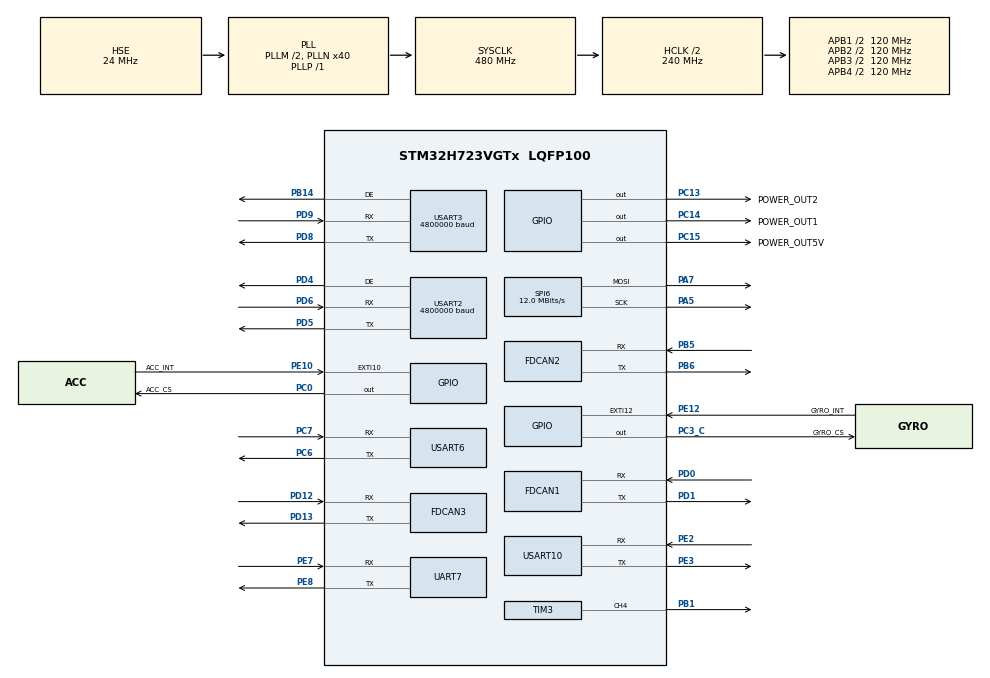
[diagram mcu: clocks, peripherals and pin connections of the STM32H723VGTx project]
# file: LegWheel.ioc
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CRC.DefaultPolynomialUse=DEFAULT_POLYNOMIAL_DISABLE
Dma.Request0=USART2_RX
Dma.Request1=USART2_TX
Dma.Request2=USART3_RX
Dma.Request3=USART3_TX
Dma.Request4=UART7_RX
Dma.Request5=UART7_TX
Dma.Request6=USART10_TX
Dma.Request7=USART10_RX
Dma.UART7_RX.4.Direction=DMA_PERIPH_TO_MEMORY
Dma.UART7_RX.4.EventEnable=DISABLE
Dma.UART7_RX.4.FIFOMode=DMA_FIFOMODE_DISABLE
Dma.UART7_RX.4.Instance=DMA2_Stream2
Dma.UART7_RX.4.MemDataAlignment=DMA_MDATAALIGN_BYTE
Dma.UART7_RX.4.MemInc=DMA_MINC_ENABLE
Dma.UART7_RX.4.Mode=DMA_NORMAL
Dma.UART7_RX.4.PeriphDataAlignment=DMA_PDATAALIGN_BYTE
Dma.UART7_RX.4.PeriphInc=DMA_PINC_DISABLE
Dma.UART7_RX.4.Polarity=HAL_DMAMUX_REQ_GEN_RISING
Dma.UART7_RX.4.Priority=DMA_PRIORITY_VERY_HIGH
Dma.UART7_RX.4.RequestNumber=1
Dma.UART7_RX.4.SignalID=NONE
Dma.UART7_RX.4.SyncEnable=DISABLE
Dma.UART7_RX.4.SyncPolarity=HAL_DMAMUX_SYNC_NO_EVENT
Dma.UART7_RX.4.SyncRequestNumber=1
Dma.UART7_RX.4.SyncSignalID=NONE
Dma.UART7_TX.5.Direction=DMA_MEMORY_TO_PERIPH
Dma.UART7_TX.5.EventEnable=DISABLE
Dma.UART7_TX.5.FIFOMode=DMA_FIFOMODE_DISABLE
Dma.UART7_TX.5.Instance=DMA2_Stream1
Dma.UART7_TX.5.MemDataAlignment=DMA_MDATAALIGN_BYTE
Dma.UART7_TX.5.MemInc=DMA_MINC_ENABLE
Dma.UART7_TX.5.Mode=DMA_NORMAL
Dma.UART7_TX.5.PeriphDataAlignment=DMA_PDATAALIGN_BYTE
Dma.UART7_TX.5.PeriphInc=DMA_PINC_DISABLE
Dma.UART7_TX.5.Polarity=HAL_DMAMUX_REQ_GEN_RISING
Dma.UART7_TX.5.Priority=DMA_PRIORITY_VERY_HIGH
Dma.UART7_TX.5.RequestNumber=1
Dma.UART7_TX.5.SignalID=NONE
Dma.UART7_TX.5.SyncEnable=DISABLE
Dma.UART7_TX.5.SyncPolarity=HAL_DMAMUX_SYNC_NO_EVENT
Dma.UART7_TX.5.SyncRequestNumber=1
Dma.UART7_TX.5.SyncSignalID=NONE
Dma.USART10_RX.7.Direction=DMA_PERIPH_TO_MEMORY
Dma.USART10_RX.7.EventEnable=DISABLE
Dma.USART10_RX.7.FIFOMode=DMA_FIFOMODE_DISABLE
Dma.USART10_RX.7.Instance=DMA2_Stream3
Dma.USART10_RX.7.MemDataAlignment=DMA_MDATAALIGN_BYTE
Dma.USART10_RX.7.MemInc=DMA_MINC_ENABLE
Dma.USART10_RX.7.Mode=DMA_NORMAL
Dma.USART10_RX.7.PeriphDataAlignment=DMA_PDATAALIGN_BYTE
Dma.USART10_RX.7.PeriphInc=DMA_PINC_DISABLE
Dma.USART10_RX.7.Polarity=HAL_DMAMUX_REQ_GEN_RISING
Dma.USART10_RX.7.Priority=DMA_PRIORITY_VERY_HIGH
Dma.USART10_RX.7.RequestNumber=1
Dma.USART10_RX.7.SignalID=NONE
Dma.USART10_RX.7.SyncEnable=DISABLE
Dma.USART10_RX.7.SyncPolarity=HAL_DMAMUX_SYNC_NO_EVENT
Dma.USART10_RX.7.SyncRequestNumber=1
Dma.USART10_RX.7.SyncSignalID=NONE
Dma.USART10_TX.6.Direction=DMA_MEMORY_TO_PERIPH
Dma.USART10_TX.6.EventEnable=DISABLE
Dma.USART10_TX.6.FIFOMode=DMA_FIFOMODE_DISABLE
Dma.USART10_TX.6.Instance=DMA2_Stream4
Dma.USART10_TX.6.MemDataAlignment=DMA_MDATAALIGN_BYTE
Dma.USART10_TX.6.MemInc=DMA_MINC_ENABLE
Dma.USART10_TX.6.Mode=DMA_NORMAL
Dma.USART10_TX.6.PeriphDataAlignment=DMA_PDATAALIGN_BYTE
Dma.USART10_TX.6.PeriphInc=DMA_PINC_DISABLE
Dma.USART10_TX.6.Polarity=HAL_DMAMUX_REQ_GEN_RISING
Dma.USART10_TX.6.Priority=DMA_PRIORITY_VERY_HIGH
Dma.USART10_TX.6.RequestNumber=1
Dma.USART10_TX.6.SignalID=NONE
Dma.USART10_TX.6.SyncEnable=DISABLE
Dma.USART10_TX.6.SyncPolarity=HAL_DMAMUX_SYNC_NO_EVENT
Dma.USART10_TX.6.SyncRequestNumber=1
Dma.USART10_TX.6.SyncSignalID=NONE
Dma.USART2_RX.0.Direction=DMA_PERIPH_TO_MEMORY
Dma.USART2_RX.0.EventEnable=DISABLE
Dma.USART2_RX.0.FIFOMode=DMA_FIFOMODE_DISABLE
Dma.USART2_RX.0.Instance=DMA1_Stream1
Dma.USART2_RX.0.MemDataAlignment=DMA_MDATAALIGN_BYTE
Dma.USART2_RX.0.MemInc=DMA_MINC_ENABLE
Dma.USART2_RX.0.Mode=DMA_NORMAL
Dma.USART2_RX.0.PeriphDataAlignment=DMA_PDATAALIGN_BYTE
Dma.USART2_RX.0.PeriphInc=DMA_PINC_DISABLE
Dma.USART2_RX.0.Polarity=HAL_DMAMUX_REQ_GEN_RISING
Dma.USART2_RX.0.Priority=DMA_PRIORITY_HIGH
Dma.USART2_RX.0.RequestNumber=1
Dma.USART2_RX.0.SignalID=NONE
Dma.USART2_RX.0.SyncEnable=DISABLE
Dma.USART2_RX.0.SyncPolarity=HAL_DMAMUX_SYNC_NO_EVENT
Dma.USART2_RX.0.SyncRequestNumber=1
Dma.USART2_RX.0.SyncSignalID=NONE
Dma.USART2_TX.1.Direction=DMA_MEMORY_TO_PERIPH
Dma.USART2_TX.1.EventEnable=DISABLE
Dma.USART2_TX.1.FIFOMode=DMA_FIFOMODE_DISABLE
Dma.USART2_TX.1.Instance=DMA1_Stream2
Dma.USART2_TX.1.MemDataAlignment=DMA_MDATAALIGN_BYTE
Dma.USART2_TX.1.MemInc=DMA_MINC_ENABLE
Dma.USART2_TX.1.Mode=DMA_NORMAL
Dma.USART2_TX.1.PeriphDataAlignment=DMA_PDATAALIGN_BYTE
Dma.USART2_TX.1.PeriphInc=DMA_PINC_DISABLE
Dma.USART2_TX.1.Polarity=HAL_DMAMUX_REQ_GEN_RISING
Dma.USART2_TX.1.Priority=DMA_PRIORITY_HIGH
Dma.USART2_TX.1.RequestNumber=1
Dma.USART2_TX.1.SignalID=NONE
Dma.USART2_TX.1.SyncEnable=DISABLE
Dma.USART2_TX.1.SyncPolarity=HAL_DMAMUX_SYNC_NO_EVENT
Dma.USART2_TX.1.SyncRequestNumber=1
Dma.USART2_TX.1.SyncSignalID=NONE
Dma.USART3_RX.2.Direction=DMA_PERIPH_TO_MEMORY
Dma.USART3_RX.2.EventEnable=DISABLE
Dma.USART3_RX.2.FIFOMode=DMA_FIFOMODE_DISABLE
Dma.USART3_RX.2.Instance=DMA1_Stream3
Dma.USART3_RX.2.MemDataAlignment=DMA_MDATAALIGN_BYTE
Dma.USART3_RX.2.MemInc=DMA_MINC_ENABLE
Dma.USART3_RX.2.Mode=DMA_NORMAL
Dma.USART3_RX.2.PeriphDataAlignment=DMA_PDATAALIGN_BYTE
Dma.USART3_RX.2.PeriphInc=DMA_PINC_DISABLE
Dma.USART3_RX.2.Polarity=HAL_DMAMUX_REQ_GEN_RISING
Dma.USART3_RX.2.Priority=DMA_PRIORITY_HIGH
Dma.USART3_RX.2.RequestNumber=1
Dma.USART3_RX.2.SignalID=NONE
Dma.USART3_RX.2.SyncEnable=DISABLE
Dma.USART3_RX.2.SyncPolarity=HAL_DMAMUX_SYNC_NO_EVENT
Dma.USART3_RX.2.SyncRequestNumber=1
Dma.USART3_RX.2.SyncSignalID=NONE
Dma.USART3_TX.3.Direction=DMA_MEMORY_TO_PERIPH
Dma.USART3_TX.3.EventEnable=DISABLE
Dma.USART3_TX.3.FIFOMode=DMA_FIFOMODE_DISABLE
Dma.USART3_TX.3.Instance=DMA1_Stream4
Dma.USART3_TX.3.MemDataAlignment=DMA_MDATAALIGN_BYTE
Dma.USART3_TX.3.MemInc=DMA_MINC_ENABLE
Dma.USART3_TX.3.Mode=DMA_NORMAL
Dma.USART3_TX.3.PeriphDataAlignment=DMA_PDATAALIGN_BYTE
Dma.USART3_TX.3.PeriphInc=DMA_PINC_DISABLE
Dma.USART3_TX.3.Polarity=HAL_DMAMUX_REQ_GEN_RISING
Dma.USART3_TX.3.Priority=DMA_PRIORITY_HIGH
Dma.USART3_TX.3.RequestNumber=1
Dma.USART3_TX.3.SignalID=NONE
Dma.USART3_TX.3.SyncEnable=DISABLE
Dma.USART3_TX.3.SyncPolarity=HAL_DMAMUX_SYNC_NO_EVENT
Dma.USART3_TX.3.SyncRequestNumber=1
Dma.USART3_TX.3.SyncSignalID=NONE
FDCAN1.AutoRetransmission=ENABLE
FDCAN1.CalculateBaudRateNominal=1000000
FDCAN1.CalculateTimeBitNominal=1000
FDCAN1.CalculateTimeQuantumNominal=25.0
FDCAN1.DataPrescaler=3
FDCAN1.DataSyncJumpWidth=10
FDCAN1.DataTimeSeg1=29
FDCAN1.DataTimeSeg2=10
FDCAN1.NominalPrescaler=3
FDCAN1.NominalSyncJumpWidth=10
FDCAN1.NominalTimeSeg1=29
FDCAN1.NominalTimeSeg2=10
FDCAN1.ProtocolException=ENABLE
FDCAN1.RxFifo0ElmtsNbr=4
FDCAN1.StdFiltersNbr=1
FDCAN1.TxFifoQueueElmtsNbr=4
FDCAN2.AutoRetransmission=ENABLE
FDCAN2.CalculateBaudRateNominal=1000000
FDCAN2.CalculateTimeBitNominal=1000
FDCAN2.CalculateTimeQuantumNominal=25.0
FDCAN2.DataPrescaler=3
FDCAN2.DataSyncJumpWidth=10
FDCAN2.DataTimeSeg1=29
FDCAN2.DataTimeSeg2=10
FDCAN2.MessageRAMOffset=1280
FDCAN2.NominalPrescaler=3
FDCAN2.NominalSyncJumpWidth=10
FDCAN2.NominalTimeSeg1=29
FDCAN2.NominalTimeSeg2=10
FDCAN2.ProtocolException=ENABLE
FDCAN2.RxFifo0ElmtsNbr=4
FDCAN2.StdFiltersNbr=1
FDCAN2.TxFifoQueueElmtsNbr=4
FDCAN3.AutoRetransmission=ENABLE
FDCAN3.CalculateBaudRateNominal=1000000
FDCAN3.CalculateTimeBitNominal=1000
FDCAN3.CalculateTimeQuantumNominal=25.0
FDCAN3.DataPrescaler=3
FDCAN3.DataSyncJumpWidth=10
FDCAN3.DataTimeSeg1=29
FDCAN3.DataTimeSeg2=10
FDCAN3.MessageRAMOffset=1280
FDCAN3.NominalPrescaler=3
FDCAN3.NominalSyncJumpWidth=10
FDCAN3.NominalTimeSeg1=29
FDCAN3.NominalTimeSeg2=10
FDCAN3.ProtocolException=ENABLE
FDCAN3.RxFifo0ElmtsNbr=4
FDCAN3.StdFiltersNbr=1
FDCAN3.TxFifoQueueElmtsNbr=4
FREERTOS.Tasks01=defaultTask,8,128,StartDefaultTask,Default,NULL,Dynamic,NULL,NULL;ChassisTask,24,128,StartChassisTask,Default,NULL,Dynamic,NULL,NULL;LegMotorTask,48,128,StartLegMotorTask,Default,NULL,Dynamic,NULL,NULL;IMUTask,48,128,StartIMUTask,Default,NULL,Dynamic,NULL,NULL;BoardcommTask,48,128,StartBoardcommTask,Default,NULL,Dynamic,NULL,NULL
Mcu.Family=STM32H7
Mcu.Name=STM32H723VGTx
Mcu.Package=LQFP100
NVIC.DMA1_Stream1_IRQn=true\:5\:0\:true\:false\:true\:false\:false\:true\:true
NVIC.DMA1_Stream2_IRQn=true\:5\:0\:false\:false\:true\:true\:false\:true\:true
NVIC.DMA1_Stream3_IRQn=true\:5\:0\:false\:false\:true\:true\:false\:true\:true
NVIC.DMA1_Stream4_IRQn=true\:5\:0\:false\:false\:true\:true\:false\:true\:true
NVIC.DMA2_Stream1_IRQn=true\:5\:0\:false\:false\:true\:true\:false\:true\:true
NVIC.DMA2_Stream2_IRQn=true\:5\:0\:false\:false\:true\:false\:false\:true\:true
NVIC.DMA2_Stream3_IRQn=true\:0\:0\:false\:false\:true\:false\:false\:true\:true
NVIC.DMA2_Stream4_IRQn=true\:0\:0\:false\:false\:true\:false\:false\:true\:true
NVIC.FDCAN1_IT0_IRQn=true\:5\:0\:false\:false\:true\:true\:true\:true\:true
NVIC.FDCAN2_IT0_IRQn=true\:5\:0\:false\:false\:true\:true\:true\:true\:true
NVIC.FDCAN3_IT0_IRQn=true\:5\:0\:false\:false\:true\:true\:true\:true\:true
NVIC.PriorityGroup=NVIC_PRIORITYGROUP_4
NVIC.TIM2_IRQn=true\:15\:0\:false\:false\:true\:false\:false\:true\:true
NVIC.TimeBase=TIM2_IRQn
NVIC.TimeBaseIP=TIM2
NVIC.UART7_IRQn=true\:5\:0\:false\:false\:true\:true\:true\:true\:true
NVIC.USART2_IRQn=true\:5\:0\:false\:false\:true\:true\:true\:true\:true
NVIC.USART3_IRQn=true\:5\:0\:false\:false\:true\:true\:true\:true\:true
PA13(JTMS/SWDIO).Mode=Serial_Wire
PA13(JTMS/SWDIO).Signal=DEBUG_JTMS-SWDIO
PA14(JTCK/SWCLK).Mode=Serial_Wire
PA14(JTCK/SWCLK).Signal=DEBUG_JTCK-SWCLK
PA5.GPIO_Speed=GPIO_SPEED_FREQ_VERY_HIGH
PA5.Mode=TX_Only_Simplex_Unidirect_Master
PA5.Signal=SPI6_SCK
PA7.GPIO_Speed=GPIO_SPEED_FREQ_VERY_HIGH
PA7.Mode=TX_Only_Simplex_Unidirect_Master
PA7.Signal=SPI6_MOSI
PB1.Signal=S_TIM3_CH4
PB13.Signal=SPI2_SCK
PB14.GPIO_PuPd=GPIO_PULLDOWN
PB14.GPIO_Speed=GPIO_SPEED_FREQ_VERY_HIGH
PB14.Mode=Hardware Flow Control (RS485)
PB14.Signal=USART3_DE
PB5.GPIO_Speed=GPIO_SPEED_FREQ_LOW
PB5.Mode=FDCAN_Activate
PB5.Signal=FDCAN2_RX
PB6.GPIO_FM6=SYSCFG_PMCR_I2C_PB6_FMP
PB6.GPIO_Speed=GPIO_SPEED_FREQ_LOW
PB6.Mode=FDCAN_Activate
PB6.Signal=FDCAN2_TX
PC0.GPIO_Label=ACC_CS
PC0.GPIO_PuPd=GPIO_NOPULL
PC0.GPIO_Speed=GPIO_SPEED_FREQ_VERY_HIGH
PC0.PinState=GPIO_PIN_SET
PC0.Signal=GPIO_Output
PC13.GPIO_Label=POWER_OUT2
PC13.PinState=GPIO_PIN_SET
PC13.Signal=GPIO_Output
PC14-OSC32_IN.GPIO_Label=POWER_OUT1
PC14-OSC32_IN.PinState=GPIO_PIN_SET
PC14-OSC32_IN.Signal=GPIO_Output
PC15-OSC32_OUT.GPIO_Label=POWER_OUT5V
PC15-OSC32_OUT.PinState=GPIO_PIN_SET
PC15-OSC32_OUT.Signal=GPIO_Output
PC3_C.GPIO_Label=GYRO_CS
PC3_C.GPIO_PuPd=GPIO_NOPULL
PC3_C.GPIO_Speed=GPIO_SPEED_FREQ_VERY_HIGH
PC3_C.PinState=GPIO_PIN_SET
PC3_C.Signal=GPIO_Output
PC6.Mode=Asynchronous
PC6.Signal=USART6_TX
PC7.Mode=Asynchronous
PC7.Signal=USART6_RX
PD0.GPIO_Speed=GPIO_SPEED_FREQ_LOW
PD0.Mode=FDCAN_Activate
PD0.Signal=FDCAN1_RX
PD1.GPIO_Speed=GPIO_SPEED_FREQ_LOW
PD1.Mode=FDCAN_Activate
PD1.Signal=FDCAN1_TX
PD12.Mode=FDCAN_Activate
PD12.Signal=FDCAN3_RX
PD13.Mode=FDCAN_Activate
PD13.Signal=FDCAN3_TX
PD4.GPIO_PuPd=GPIO_PULLDOWN
PD4.GPIO_Speed=GPIO_SPEED_FREQ_VERY_HIGH
PD4.Mode=Hardware Flow Control (RS485)
PD4.Signal=USART2_DE
PD5.GPIO_Speed=GPIO_SPEED_FREQ_VERY_HIGH
PD5.Mode=Asynchronous
PD5.Signal=USART2_TX
PD6.GPIO_Speed=GPIO_SPEED_FREQ_VERY_HIGH
PD6.Mode=Asynchronous
PD6.Signal=USART2_RX
PD8.GPIO_Speed=GPIO_SPEED_FREQ_VERY_HIGH
PD8.Mode=Asynchronous
PD8.Signal=USART3_TX
PD9.GPIO_Speed=GPIO_SPEED_FREQ_VERY_HIGH
PD9.Mode=Asynchronous
PD9.Signal=USART3_RX
PE10.GPIO_Label=ACC_INT
PE10.Signal=GPXTI10
PE12.GPIO_Label=GYRO_INT
PE12.Signal=GPXTI12
PE2.Mode=Asynchronous
PE2.Signal=USART10_RX
PE3.Mode=Asynchronous
PE3.Signal=USART10_TX
PE7.GPIO_Speed=GPIO_SPEED_FREQ_VERY_HIGH
PE7.Mode=Asynchronous
PE7.Signal=UART7_RX
PE8.GPIO_Speed=GPIO_SPEED_FREQ_VERY_HIGH
PE8.Mode=Asynchronous
PE8.Signal=UART7_TX
PH0-OSC_IN.Mode=HSE-External-Oscillator
PH0-OSC_IN.Signal=RCC_OSC_IN
PH1-OSC_OUT.Mode=HSE-External-Oscillator
PH1-OSC_OUT.Signal=RCC_OSC_OUT
ProjectManager.HeapSize=0x20000
ProjectManager.StackSize=0x800
ProjectManager.TargetToolchain=MDK-ARM V5.27
RCC.ADCFreq_Value=48375000
RCC.APB1Freq_Value=120000000
RCC.APB2Freq_Value=120000000
RCC.APB3Freq_Value=120000000
RCC.APB4Freq_Value=120000000
RCC.CortexFreq_Value=480000000
RCC.D1PPRE=RCC_APB3_DIV2
RCC.D2PPRE1=RCC_APB1_DIV2
RCC.D2PPRE2=RCC_APB2_DIV2
RCC.D3PPRE=RCC_APB4_DIV2
RCC.DIVM1=2
RCC.DIVN1=40
RCC.DIVP1=1
RCC.DIVQ1=4
RCC.HCLKFreq_Value=240000000
RCC.HPRE=RCC_HCLK_DIV2
RCC.HSE_VALUE=24000000
RCC.PLL2FRACN=0
RCC.PLL3FRACN=0
RCC.PLLFRACN=0
RCC.PLLSourceVirtual=RCC_PLLSOURCE_HSE
RCC.SPI6CLockSelection=RCC_SPI6CLKSOURCE_HSE
RCC.SYSCLKFreq_VALUE=480000000
RCC.SYSCLKSource=RCC_SYSCLKSOURCE_PLLCLK
RCC.USBFreq_Value=120000000
SH.S_TIM3_CH4.0=TIM3_CH4,PWM Generation4 CH4
SPI6.CalculateBaudRate=12.0 MBits/s
SPI6.Direction=SPI_DIRECTION_2LINES_TXONLY
SPI6.Mode=SPI_MODE_MASTER
SPI6.VirtualType=VM_MASTER
TIM3.Channel-PWM\ Generation4\ CH4=TIM_CHANNEL_4
TIM3.Period=2000-1
TIM3.Prescaler=84-1
USART10.VirtualMode=VM_ASYNC
USART2.BaudRate=4800000
USART2.DMADisableonRxErrorParam=ADVFEATURE_DMA_ENABLEONRXERROR
USART2.OverrunDisableParam=ADVFEATURE_OVERRUN_ENABLE
USART2.RXFIFOThreshold=RXFIFO_THRESHOLD_1EIGHTHFULL
USART2.TXFIFOThreshold=TXFIFO_THRESHOLD_1EIGHTHFULL
USART2.VirtualMode-Asynchronous=VM_ASYNC
USART2.VirtualMode-Hardware\ Flow\ Control\ (RS485)=VM_ASYNC
USART3.BaudRate=4800000
USART3.VirtualMode-Asynchronous=VM_ASYNC
USART3.VirtualMode-Hardware\ Flow\ Control\ (RS485)=VM_ASYNC
USART6.VirtualMode=VM_ASYNC
VP_CRC_VS_CRC.Mode=CRC_Activate
VP_FREERTOS_VS_CMSIS_V2.Mode=CMSIS_V2
VP_MEMORYMAP_VS_MEMORYMAP.Mode=CurAppReg
VP_SYS_VS_tim2.Mode=TIM2
board=custom

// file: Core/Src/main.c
/* USER CODE BEGIN Header */
/**
  ******************************************************************************
  * @file           : main.c
  * @brief          : Main program body
  ******************************************************************************
  * @attention
  *
  * Copyright (c) 2024 STMicroelectronics.
  * All rights reserved.
  *
  * This software is licensed under terms that can be found in the LICENSE file
  * in the root directory of this software component.
  * If no LICENSE file comes with this software, it is provided AS-IS.
  *
  ******************************************************************************
  */
/* USER CODE END Header */
#include "main.h"
#include "cmsis_os.h"
#include "crc.h"
#include "dma.h"
#include "fdcan.h"
#include "memorymap.h"
#include "spi.h"
#include "tim.h"
#include "usart.h"
#include "gpio.h"

/* USER CODE BEGIN Includes */
#include "Task_manager.h"
#include "bsp_dwt.h"
#include "stdint.h"
#include "stdlib.h"
#include "math.h"
#include "arm_math.h"
#include "BSP_fdcan.h"

/* USER CODE END Includes */

void SystemClock_Config(void);
void MX_FREERTOS_Init(void);

int main(void)
{

  /* MCU Configuration--------------------------------------------------------*/

  /* Reset of all peripherals, Initializes the Flash interface and the Systick. */
  HAL_Init();

  /* Configure the system clock */
  SystemClock_Config();

  /* USER CODE BEGIN SysInit */
	HAL_NVIC_SetPriority(SysTick_IRQn,0,0);
  /* USER CODE END SysInit */

  /* Initialize all configured peripherals */
  MX_GPIO_Init();
  MX_DMA_Init();
  MX_SPI6_Init();
  MX_FDCAN1_Init();
  MX_FDCAN2_Init();
  MX_USART2_UART_Init();
  MX_USART3_UART_Init();
  MX_CRC_Init();
  MX_UART7_Init();
  MX_TIM3_Init();
  MX_FDCAN3_Init();
  MX_USART6_UART_Init();
  MX_USART10_UART_Init();
  /* USER CODE BEGIN 2 */
	DWT_Init(180);

	Can_Fun.can_bsp_init();
	motor_init();
  /* USER CODE END 2 */

  /* Init scheduler */
  osKernelInitialize();

  /* Call init function for freertos objects (in cmsis_os2.c) */
  MX_FREERTOS_Init();

  /* Start scheduler */
  osKernelStart();

  /* We should never get here as control is now taken by the scheduler */

  /* Infinite loop */
  while (1)
  {

  }
}

void SystemClock_Config(void)
{
  RCC_OscInitTypeDef RCC_OscInitStruct = {0};
  RCC_ClkInitTypeDef RCC_ClkInitStruct = {0};

  /** Supply configuration update enable
  */
  HAL_PWREx_ConfigSupply(PWR_LDO_SUPPLY);

  /** Configure the main internal regulator output voltage
  */
  __HAL_PWR_VOLTAGESCALING_CONFIG(PWR_REGULATOR_VOLTAGE_SCALE0);

  while(!__HAL_PWR_GET_FLAG(PWR_FLAG_VOSRDY)) {}

  /** Initializes the RCC Oscillators according to the specified parameters
  * in the RCC_OscInitTypeDef structure.
  */
  RCC_OscInitStruct.OscillatorType = RCC_OSCILLATORTYPE_HSE;
  RCC_OscInitStruct.HSEState = RCC_HSE_ON;
  RCC_OscInitStruct.PLL.PLLState = RCC_PLL_ON;
  RCC_OscInitStruct.PLL.PLLSource = RCC_PLLSOURCE_HSE;
  RCC_OscInitStruct.PLL.PLLM = 2;
  RCC_OscInitStruct.PLL.PLLN = 40;
  RCC_OscInitStruct.PLL.PLLP = 1;
  RCC_OscInitStruct.PLL.PLLQ = 4;
  RCC_OscInitStruct.PLL.PLLR = 2;
  RCC_OscInitStruct.PLL.PLLRGE = RCC_PLL1VCIRANGE_3;
  RCC_OscInitStruct.PLL.PLLVCOSEL = RCC_PLL1VCOWIDE;
  RCC_OscInitStruct.PLL.PLLFRACN = 0;
  if (HAL_RCC_OscConfig(&RCC_OscInitStruct) != HAL_OK)
  {
    Error_Handler();
  }

  /** Initializes the CPU, AHB and APB buses clocks
  */
  RCC_ClkInitStruct.ClockType = RCC_CLOCKTYPE_HCLK|RCC_CLOCKTYPE_SYSCLK
                              |RCC_CLOCKTYPE_PCLK1|RCC_CLOCKTYPE_PCLK2
                              |RCC_CLOCKTYPE_D3PCLK1|RCC_CLOCKTYPE_D1PCLK1;
  RCC_ClkInitStruct.SYSCLKSource = RCC_SYSCLKSOURCE_PLLCLK;
  RCC_ClkInitStruct.SYSCLKDivider = RCC_SYSCLK_DIV1;
  RCC_ClkInitStruct.AHBCLKDivider = RCC_HCLK_DIV2;
  RCC_ClkInitStruct.APB3CLKDivider = RCC_APB3_DIV2;
  RCC_ClkInitStruct.APB1CLKDivider = RCC_APB1_DIV2;
  RCC_ClkInitStruct.APB2CLKDivider = RCC_APB2_DIV2;
  RCC_ClkInitStruct.APB4CLKDivider = RCC_APB4_DIV2;

  if (HAL_RCC_ClockConfig(&RCC_ClkInitStruct, FLASH_LATENCY_3) != HAL_OK)
  {
    Error_Handler();
  }
}

/* USER CODE BEGIN 4 */
//void HAL_IncTick(void)
//{
//	if(uwTickFreq==0)
//	{
//		uwTickFreq = HAL_TICK_FREQ_DEFAULT;
//	}
//  uwTick += uwTickFreq;
//}

/* USER CODE END 4 */

void HAL_TIM_PeriodElapsedCallback(TIM_HandleTypeDef *htim)
{
  if (htim->Instance == TIM2)
  {
    HAL_IncTick();
  }
}

void Error_Handler(void)
{
  /* USER CODE BEGIN Error_Handler_Debug */
  /* User can add his own implementation to report the HAL error return state */
  __disable_irq();
  while (1)
  {
		//WS2812_Ctrl(0,200,0);
  }
  /* USER CODE END Error_Handler_Debug */
}

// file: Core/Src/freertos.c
/* USER CODE BEGIN Header */
/**
  ******************************************************************************
  * File Name          : freertos.c
  * Description        : Code for freertos applications
  ******************************************************************************
  * @attention
  *
  * Copyright (c) 2024 STMicroelectronics.
  * All rights reserved.
  *
  * This software is licensed under terms that can be found in the LICENSE file
  * in the root directory of this software component.
  * If no LICENSE file comes with this software, it is provided AS-IS.
  *
  ******************************************************************************
  */
/* USER CODE END Header */

#include "FreeRTOS.h"
#include "task.h"
#include "main.h"
#include "cmsis_os.h"

/* USER CODE BEGIN Includes */
#include "ws2812.h"
#include "ins.h"
#include "Task_manager.h"
#include "bsp_dwt.h"
#include "Saber_C3.h"
#include "board_comm.h"
//#include "BMI088driver.h"
/* USER CODE END Includes */

/* Definitions for defaultTask */
osThreadId_t defaultTaskHandle;
const osThreadAttr_t defaultTask_attributes = {
  .name = "defaultTask",
  .stack_size = 128 * 4,
  .priority = (osPriority_t) osPriorityLow,
};
/* Definitions for ChassisTask */
osThreadId_t ChassisTaskHandle;
const osThreadAttr_t ChassisTask_attributes = {
  .name = "ChassisTask",
  .stack_size = 128 * 4,
  .priority = (osPriority_t) osPriorityNormal,
};
/* Definitions for LegMotorTask */
osThreadId_t LegMotorTaskHandle;
const osThreadAttr_t LegMotorTask_attributes = {
  .name = "LegMotorTask",
  .stack_size = 128 * 4,
  .priority = (osPriority_t) osPriorityRealtime,
};
/* Definitions for IMUTask */
osThreadId_t IMUTaskHandle;
const osThreadAttr_t IMUTask_attributes = {
  .name = "IMUTask",
  .stack_size = 128 * 4,
  .priority = (osPriority_t) osPriorityRealtime,
};
/* Definitions for BoardcommTask */
osThreadId_t BoardcommTaskHandle;
const osThreadAttr_t BoardcommTask_attributes = {
  .name = "BoardcommTask",
  .stack_size = 128 * 4,
  .priority = (osPriority_t) osPriorityRealtime,
};

void StartDefaultTask(void *argument);
void StartChassisTask(void *argument);
void StartLegMotorTask(void *argument);
void StartIMUTask(void *argument);
void StartBoardcommTask(void *argument);

void MX_FREERTOS_Init(void); /* (MISRA C 2004 rule 8.1) */

void MX_FREERTOS_Init(void) {

  /* Create the thread(s) */
  /* creation of defaultTask */
  defaultTaskHandle = osThreadNew(StartDefaultTask, NULL, &defaultTask_attributes);

  /* creation of ChassisTask */
  ChassisTaskHandle = osThreadNew(StartChassisTask, NULL, &ChassisTask_attributes);

  /* creation of LegMotorTask */
  LegMotorTaskHandle = osThreadNew(StartLegMotorTask, NULL, &LegMotorTask_attributes);

  /* creation of IMUTask */
  IMUTaskHandle = osThreadNew(StartIMUTask, NULL, &IMUTask_attributes);

  /* creation of BoardcommTask */
  BoardcommTaskHandle = osThreadNew(StartBoardcommTask, NULL, &BoardcommTask_attributes);

}

void StartDefaultTask(void *argument)
{
  /* USER CODE BEGIN StartDefaultTask */
  /* Infinite loop */
  for(;;)
  {
		WS2812_Ctrl(50, 0, 0);
		osDelay(500);
		WS2812_Ctrl(10, 10, 50);
		osDelay(500);

  }
  /* USER CODE END StartDefaultTask */
}

void StartChassisTask(void *argument)
{
  /* USER CODE BEGIN StartChassisTask */
  /* Infinite loop */
	static float chassis_start;
  static float chassis_dt;
  for(;;)
  {
		chassis_start = DWT_GetTimeline_ms();
    ChassisCalcTask();
    chassis_dt = DWT_GetTimeline_ms() - chassis_start;
    osDelay(1);
  }
  /* USER CODE END StartChassisTask */
}

void StartLegMotorTask(void *argument)
{
  /* USER CODE BEGIN StartLegMotorTask */
  /* Infinite loop */
	static float leg_start;
  static float leg_dt;
  for(;;)
  {
		leg_start = DWT_GetTimeline_ms();
				DM_MotorTask();
		leg_dt = DWT_GetTimeline_ms() - leg_start;
						WheelMotorTask();
		leg_dt = DWT_GetTimeline_ms() - leg_start;
    osDelay(1);
  }
  /* USER CODE END StartLegMotorTask */
}

void StartIMUTask(void *argument)
{
  /* USER CODE BEGIN StartIMUTask */
	static float ins_start;
  static float ins_dt;
			INS_Init();
  /* Infinite loop */
  for(;;)
  {
		ins_start = DWT_GetTimeline_ms();
		INS_Task();
		ins_dt = DWT_GetTimeline_ms() - ins_start;
    osDelay(1);
  }
  /* USER CODE END StartIMUTask */
}

void StartBoardcommTask(void *argument)
{
  /* USER CODE BEGIN StartBoardcommTask */
	static float board_start;
  static float board_dt;
	 BoardCommInit(&board_comm,&hfdcan2, 0x11f);
  /* Infinite loop */
  for(;;)
  {
		board_start = DWT_GetTimeline_ms();
		boardCommunicateTask();
		board_dt = DWT_GetTimeline_ms() - board_start;
    osDelay(1);
  }
  /* USER CODE END StartBoardcommTask */
}
